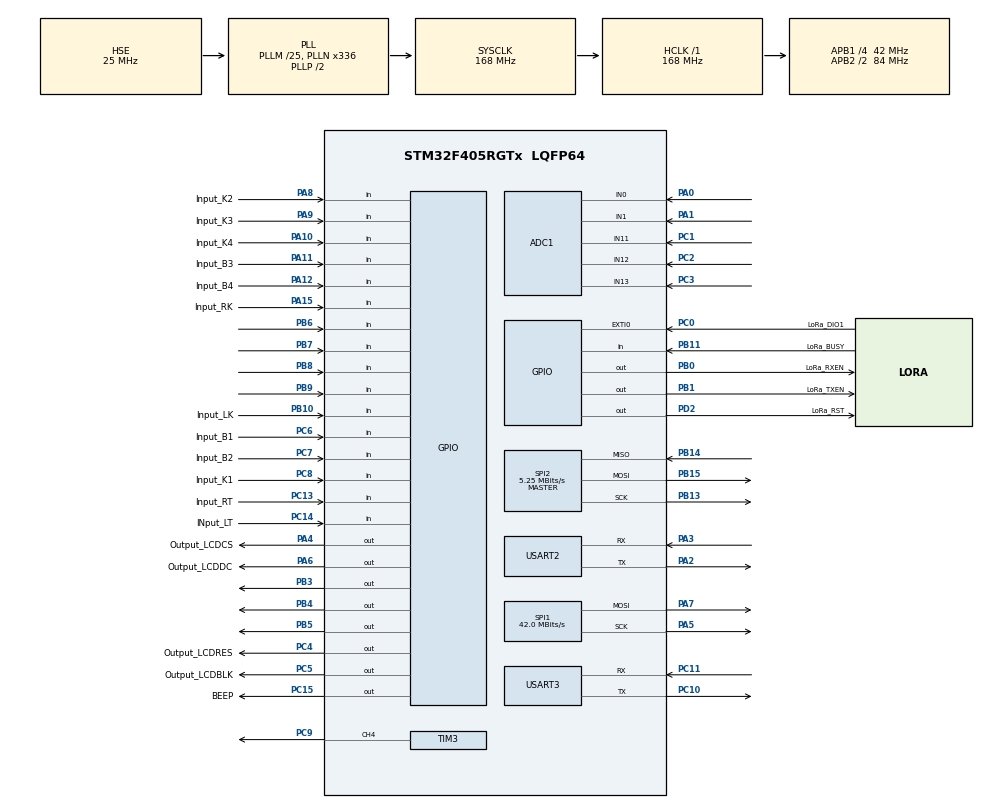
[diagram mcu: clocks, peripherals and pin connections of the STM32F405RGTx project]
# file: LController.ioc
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ADC1.Channel-1\#ChannelRegularConversion=ADC_CHANNEL_11
ADC1.Channel-2\#ChannelRegularConversion=ADC_CHANNEL_12
ADC1.Channel-3\#ChannelRegularConversion=ADC_CHANNEL_0
ADC1.Channel-4\#ChannelRegularConversion=ADC_CHANNEL_1
ADC1.Channel-5\#ChannelRegularConversion=ADC_CHANNEL_13
ADC1.ClockPrescaler=ADC_CLOCK_SYNC_PCLK_DIV8
ADC1.ContinuousConvMode=ENABLE
ADC1.DMAContinuousRequests=ENABLE
ADC1.NbrOfConversion=5
ADC1.NbrOfConversionFlag=1
ADC1.Rank-1\#ChannelRegularConversion=1
ADC1.Rank-2\#ChannelRegularConversion=2
ADC1.Rank-3\#ChannelRegularConversion=3
ADC1.Rank-4\#ChannelRegularConversion=4
ADC1.Rank-5\#ChannelRegularConversion=5
ADC1.SamplingTime-1\#ChannelRegularConversion=ADC_SAMPLETIME_3CYCLES
ADC1.SamplingTime-2\#ChannelRegularConversion=ADC_SAMPLETIME_3CYCLES
ADC1.SamplingTime-3\#ChannelRegularConversion=ADC_SAMPLETIME_3CYCLES
ADC1.SamplingTime-4\#ChannelRegularConversion=ADC_SAMPLETIME_3CYCLES
ADC1.SamplingTime-5\#ChannelRegularConversion=ADC_SAMPLETIME_3CYCLES
ADC1.ScanConvMode=ENABLE
ADC1.master=1
Dma.ADC1.0.Direction=DMA_PERIPH_TO_MEMORY
Dma.ADC1.0.FIFOMode=DMA_FIFOMODE_DISABLE
Dma.ADC1.0.Instance=DMA2_Stream0
Dma.ADC1.0.MemDataAlignment=DMA_MDATAALIGN_HALFWORD
Dma.ADC1.0.MemInc=DMA_MINC_ENABLE
Dma.ADC1.0.Mode=DMA_CIRCULAR
Dma.ADC1.0.PeriphDataAlignment=DMA_PDATAALIGN_HALFWORD
Dma.ADC1.0.PeriphInc=DMA_PINC_DISABLE
Dma.ADC1.0.Priority=DMA_PRIORITY_LOW
Dma.Request0=ADC1
Dma.Request1=USART2_RX
Dma.Request2=USART2_TX
Dma.Request3=USART3_RX
Dma.Request4=TIM3_CH4/UP
Dma.Request5=USART3_TX
Dma.TIM3_CH4/UP.4.Direction=DMA_MEMORY_TO_PERIPH
Dma.TIM3_CH4/UP.4.FIFOMode=DMA_FIFOMODE_DISABLE
Dma.TIM3_CH4/UP.4.Instance=DMA1_Stream2
Dma.TIM3_CH4/UP.4.MemDataAlignment=DMA_MDATAALIGN_WORD
Dma.TIM3_CH4/UP.4.MemInc=DMA_MINC_ENABLE
Dma.TIM3_CH4/UP.4.Mode=DMA_NORMAL
Dma.TIM3_CH4/UP.4.PeriphDataAlignment=DMA_PDATAALIGN_WORD
Dma.TIM3_CH4/UP.4.PeriphInc=DMA_PINC_DISABLE
Dma.TIM3_CH4/UP.4.Priority=DMA_PRIORITY_LOW
Dma.USART2_RX.1.Direction=DMA_PERIPH_TO_MEMORY
Dma.USART2_RX.1.FIFOMode=DMA_FIFOMODE_DISABLE
Dma.USART2_RX.1.Instance=DMA1_Stream5
Dma.USART2_RX.1.MemDataAlignment=DMA_MDATAALIGN_BYTE
Dma.USART2_RX.1.MemInc=DMA_MINC_ENABLE
Dma.USART2_RX.1.Mode=DMA_NORMAL
Dma.USART2_RX.1.PeriphDataAlignment=DMA_PDATAALIGN_BYTE
Dma.USART2_RX.1.PeriphInc=DMA_PINC_DISABLE
Dma.USART2_RX.1.Priority=DMA_PRIORITY_HIGH
Dma.USART2_TX.2.Direction=DMA_MEMORY_TO_PERIPH
Dma.USART2_TX.2.FIFOMode=DMA_FIFOMODE_DISABLE
Dma.USART2_TX.2.Instance=DMA1_Stream6
Dma.USART2_TX.2.MemDataAlignment=DMA_MDATAALIGN_BYTE
Dma.USART2_TX.2.MemInc=DMA_MINC_ENABLE
Dma.USART2_TX.2.Mode=DMA_NORMAL
Dma.USART2_TX.2.PeriphDataAlignment=DMA_PDATAALIGN_BYTE
Dma.USART2_TX.2.PeriphInc=DMA_PINC_DISABLE
Dma.USART2_TX.2.Priority=DMA_PRIORITY_HIGH
Dma.USART3_RX.3.Direction=DMA_PERIPH_TO_MEMORY
Dma.USART3_RX.3.FIFOMode=DMA_FIFOMODE_DISABLE
Dma.USART3_RX.3.Instance=DMA1_Stream1
Dma.USART3_RX.3.MemDataAlignment=DMA_MDATAALIGN_BYTE
Dma.USART3_RX.3.MemInc=DMA_MINC_ENABLE
Dma.USART3_RX.3.Mode=DMA_NORMAL
Dma.USART3_RX.3.PeriphDataAlignment=DMA_PDATAALIGN_BYTE
Dma.USART3_RX.3.PeriphInc=DMA_PINC_DISABLE
Dma.USART3_RX.3.Priority=DMA_PRIORITY_VERY_HIGH
Dma.USART3_TX.5.Direction=DMA_MEMORY_TO_PERIPH
Dma.USART3_TX.5.FIFOMode=DMA_FIFOMODE_DISABLE
Dma.USART3_TX.5.Instance=DMA1_Stream3
Dma.USART3_TX.5.MemDataAlignment=DMA_MDATAALIGN_BYTE
Dma.USART3_TX.5.MemInc=DMA_MINC_ENABLE
Dma.USART3_TX.5.Mode=DMA_NORMAL
Dma.USART3_TX.5.PeriphDataAlignment=DMA_PDATAALIGN_BYTE
Dma.USART3_TX.5.PeriphInc=DMA_PINC_DISABLE
Dma.USART3_TX.5.Priority=DMA_PRIORITY_VERY_HIGH
FREERTOS.Tasks01=TJCshow_Task,10,128,TJCshowTask,Default,NULL,Dynamic,NULL,NULL;Key_Task,11,256,KeyTask,Default,NULL,Dynamic,NULL,NULL;Joystick_Task,11,256,JoystickTask,Default,NULL,Dynamic,NULL,NULL;TJCmsg_Task,10,256,TJCmsgTask,Default,NULL,Dynamic,NULL,NULL;LORAmsg_Task,11,512,LORAmsgTask,Default,NULL,Dynamic,NULL,NULL;LCDLED_Task,11,128,LCDLEDTask,Default,NULL,Dynamic,NULL,NULL
FREERTOS.configCHECK_FOR_STACK_OVERFLOW=2
FREERTOS.configMINIMAL_STACK_SIZE=128
FREERTOS.configTOTAL_HEAP_SIZE=13000
FREERTOS.configUSE_IDLE_HOOK=1
Mcu.Family=STM32F4
Mcu.Name=STM32F405RGTx
Mcu.Package=LQFP64
NVIC.DMA1_Stream1_IRQn=true\:5\:0\:false\:false\:true\:true\:false\:true\:true
NVIC.DMA1_Stream2_IRQn=true\:5\:0\:false\:false\:true\:true\:false\:true\:true
NVIC.DMA1_Stream3_IRQn=true\:5\:0\:false\:false\:true\:true\:false\:true\:true
NVIC.DMA1_Stream5_IRQn=true\:5\:0\:false\:false\:true\:true\:false\:true\:true
NVIC.DMA1_Stream6_IRQn=true\:5\:0\:false\:false\:true\:true\:false\:true\:true
NVIC.DMA2_Stream0_IRQn=true\:5\:0\:false\:false\:true\:true\:false\:true\:true
NVIC.EXTI0_IRQn=true\:5\:0\:false\:false\:true\:true\:true\:true\:true
NVIC.PriorityGroup=NVIC_PRIORITYGROUP_4
NVIC.TIM8_UP_TIM13_IRQn=true\:15\:0\:false\:false\:true\:false\:false\:true\:true
NVIC.TimeBase=TIM8_UP_TIM13_IRQn
NVIC.TimeBaseIP=TIM8
NVIC.USART2_IRQn=true\:5\:0\:false\:false\:true\:true\:true\:true\:true
NVIC.USART3_IRQn=true\:5\:0\:false\:false\:true\:true\:true\:true\:true
PA0-WKUP.Signal=ADCx_IN0
PA1.Signal=ADCx_IN1
PA10.GPIO_Label=Input_K4
PA10.GPIO_PuPd=GPIO_PULLUP
PA10.Signal=GPIO_Input
PA11.GPIO_Label=Input_B3
PA11.GPIO_PuPd=GPIO_PULLUP
PA11.Signal=GPIO_Input
PA12.GPIO_Label=Input_B4
PA12.GPIO_PuPd=GPIO_PULLUP
PA12.Signal=GPIO_Input
PA13.Mode=Serial_Wire
PA13.Signal=SYS_JTMS-SWDIO
PA14.Mode=Serial_Wire
PA14.Signal=SYS_JTCK-SWCLK
PA15.GPIO_Label=Input_RK
PA15.GPIO_PuPd=GPIO_PULLUP
PA15.Signal=GPIO_Input
PA2.Mode=Asynchronous
PA2.Signal=USART2_TX
PA3.Mode=Asynchronous
PA3.Signal=USART2_RX
PA4.GPIO_Label=Output_LCDCS
PA4.Signal=GPIO_Output
PA5.Mode=TX_Only_Simplex_Unidirect_Master
PA5.Signal=SPI1_SCK
PA6.GPIO_Label=Output_LCDDC
PA6.Signal=GPIO_Output
PA7.Mode=TX_Only_Simplex_Unidirect_Master
PA7.Signal=SPI1_MOSI
PA8.GPIO_Label=Input_K2
PA8.GPIO_PuPd=GPIO_PULLUP
PA8.Signal=GPIO_Input
PA9.GPIO_Label=Input_K3
PA9.GPIO_PuPd=GPIO_PULLUP
PA9.Signal=GPIO_Input
PB0.GPIO_Label=LoRa_RXEN
PB0.Signal=GPIO_Output
PB1.GPIO_Label=LoRa_TXEN
PB1.Signal=GPIO_Output
PB10.GPIO_Label=Input_LK
PB10.GPIO_PuPd=GPIO_PULLUP
PB10.Signal=GPIO_Input
PB11.GPIO_Label=LoRa_BUSY
PB11.Signal=GPIO_Input
PB12.GPIO_Speed=GPIO_SPEED_FREQ_HIGH
PB12.Signal=SPI2_NSS
PB13.GPIO_Speed=GPIO_SPEED_FREQ_HIGH
PB13.Mode=Full_Duplex_Master
PB13.Signal=SPI2_SCK
PB14.GPIO_PuPd=GPIO_NOPULL
PB14.GPIO_Speed=GPIO_SPEED_FREQ_HIGH
PB14.Mode=Full_Duplex_Master
PB14.Signal=SPI2_MISO
PB15.GPIO_Speed=GPIO_SPEED_FREQ_HIGH
PB15.Mode=Full_Duplex_Master
PB15.Signal=SPI2_MOSI
PB3.PinState=GPIO_PIN_SET
PB3.Signal=GPIO_Output
PB4.GPIO_ModeDefaultOutputPP=GPIO_MODE_OUTPUT_PP
PB4.GPIO_PuPd=GPIO_NOPULL
PB4.PinState=GPIO_PIN_SET
PB4.Signal=GPIO_Output
PB5.GPIO_ModeDefaultOutputPP=GPIO_MODE_OUTPUT_PP
PB5.GPIO_PuPd=GPIO_NOPULL
PB5.PinState=GPIO_PIN_SET
PB5.Signal=GPIO_Output
PB6.GPIO_PuPd=GPIO_PULLUP
PB6.Signal=GPIO_Input
PB7.GPIO_PuPd=GPIO_PULLUP
PB7.Signal=GPIO_Input
PB8.GPIO_Mode=GPIO_MODE_INPUT
PB8.GPIO_PuPd=GPIO_PULLUP
PB8.Signal=GPIO_Input
PB9.GPIO_PuPd=GPIO_PULLUP
PB9.Signal=GPIO_Input
PC0.GPIO_Label=LoRa_DIO1
PC0.GPIO_ModeDefaultEXTI=GPIO_MODE_IT_RISING
PC0.Signal=GPXTI0
PC1.Signal=ADCx_IN11
PC10.Mode=Asynchronous
PC10.Signal=USART3_TX
PC11.Mode=Asynchronous
PC11.Signal=USART3_RX
PC13-ANTI_TAMP.GPIO_Label=Input_RT
PC13-ANTI_TAMP.GPIO_PuPd=GPIO_PULLUP
PC13-ANTI_TAMP.Signal=GPIO_Input
PC14-OSC32_IN.GPIO_Label=INput_LT
PC14-OSC32_IN.GPIO_PuPd=GPIO_PULLUP
PC14-OSC32_IN.Signal=GPIO_Input
PC15-OSC32_OUT.GPIO_Label=BEEP
PC15-OSC32_OUT.Signal=GPIO_Output
PC2.Signal=ADCx_IN12
PC3.Signal=ADCx_IN13
PC4.GPIO_Label=Output_LCDRES
PC4.Signal=GPIO_Output
PC5.GPIO_Label=Output_LCDBLK
PC5.Signal=GPIO_Output
PC6.GPIO_Label=Input_B1
PC6.GPIO_PuPd=GPIO_PULLUP
PC6.Signal=GPIO_Input
PC7.GPIO_Label=Input_B2
PC7.GPIO_PuPd=GPIO_PULLUP
PC7.Signal=GPIO_Input
PC8.GPIO_Label=Input_K1
PC8.GPIO_PuPd=GPIO_PULLUP
PC8.Signal=GPIO_Input
PC9.Signal=S_TIM3_CH4
PD2.GPIO_Label=LoRa_RST
PD2.Signal=GPIO_Output
PH0-OSC_IN.Mode=HSE-External-Oscillator
PH0-OSC_IN.Signal=RCC_OSC_IN
PH1-OSC_OUT.Mode=HSE-External-Oscillator
PH1-OSC_OUT.Signal=RCC_OSC_OUT
ProjectManager.HeapSize=0x1200
ProjectManager.StackSize=0x1000
ProjectManager.TargetToolchain=MDK-ARM V5.32
RCC.48MHZClocksFreq_Value=84000000
RCC.AHBFreq_Value=168000000
RCC.APB1CLKDivider=RCC_HCLK_DIV4
RCC.APB1Freq_Value=42000000
RCC.APB1TimFreq_Value=84000000
RCC.APB2CLKDivider=RCC_HCLK_DIV2
RCC.APB2Freq_Value=84000000
RCC.APB2TimFreq_Value=168000000
RCC.CortexFreq_Value=168000000
RCC.HCLKFreq_Value=168000000
RCC.HSE_VALUE=25000000
RCC.HSI_VALUE=16000000
RCC.LSE_VALUE=32768
RCC.PLLM=25
RCC.PLLN=336
RCC.PLLSourceVirtual=RCC_PLLSOURCE_HSE
RCC.SYSCLKFreq_VALUE=168000000
RCC.SYSCLKSource=RCC_SYSCLKSOURCE_PLLCLK
RCC.VCOOutputFreq_Value=336000000
SH.ADCx_IN0.0=ADC1_IN0,IN0
SH.ADCx_IN1.0=ADC1_IN1,IN1
SH.ADCx_IN11.0=ADC1_IN11,IN11
SH.ADCx_IN12.0=ADC1_IN12,IN12
SH.ADCx_IN13.0=ADC1_IN13,IN13
SH.S_TIM3_CH4.0=TIM3_CH4,PWM Generation4 CH4
SPI1.BaudRatePrescaler=SPI_BAUDRATEPRESCALER_2
SPI1.CLKPhase=SPI_PHASE_1EDGE
SPI1.CLKPolarity=SPI_POLARITY_LOW
SPI1.CalculateBaudRate=42.0 MBits/s
SPI1.Direction=SPI_DIRECTION_2LINES
SPI1.Mode=SPI_MODE_MASTER
SPI1.VirtualType=VM_MASTER
SPI2.BaudRatePrescaler=SPI_BAUDRATEPRESCALER_8
SPI2.CalculateBaudRate=5.25 MBits/s
SPI2.Direction=SPI_DIRECTION_2LINES
SPI2.Mode=SPI_MODE_MASTER
SPI2.VirtualType=VM_MASTER
TIM3.Channel-PWM\ Generation4\ CH4=TIM_CHANNEL_4
TIM3.Period=104
USART2.VirtualMode=VM_ASYNC
USART3.VirtualMode=VM_ASYNC
VP_FREERTOS_VS_CMSIS_V2.Mode=CMSIS_V2
VP_SYS_VS_tim8.Mode=TIM8
VP_TIM3_VS_ClockSourceINT.Mode=Internal
board=custom

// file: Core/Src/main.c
/* USER CODE BEGIN Header */
/**
 ******************************************************************************
 * @file           : main.c
 * @brief          : Main program body
 ******************************************************************************
 * @attention
 *
 * Copyright (c) 2025 STMicroelectronics.
 * All rights reserved.
 *
 * This software is licensed under terms that can be found in the LICENSE file
 * in the root directory of this software component.
 * If no LICENSE file comes with this software, it is provided AS-IS.
 *
 ******************************************************************************
 */
/* USER CODE END Header */
#include "main.h"
#include "cmsis_os.h"
#include "adc.h"
#include "dma.h"
#include "spi.h"
#include "tim.h"
#include "usart.h"
#include "gpio.h"

/* USER CODE BEGIN Includes */
#include "app_init.h"

/* USER CODE END Includes */

void SystemClock_Config(void);
void MX_FREERTOS_Init(void);

/* USER CODE BEGIN 0 */

// uint8_t data_buffer[100] = {0};
/* USER CODE END 0 */

int main(void)
{

  /* MCU Configuration--------------------------------------------------------*/

  /* Reset of all peripherals, Initializes the Flash interface and the Systick. */
  HAL_Init();

  /* Configure the system clock */
  SystemClock_Config();

  /* Initialize all configured peripherals */
  MX_GPIO_Init();
  MX_DMA_Init();
  MX_ADC1_Init();
  MX_USART2_UART_Init();
  MX_USART3_UART_Init();
  MX_SPI1_Init();
  MX_TIM3_Init();
  MX_SPI2_Init();
  /* USER CODE BEGIN 2 */
	Handle_Start();

  /* USER CODE END 2 */

  /* Init scheduler */
  osKernelInitialize();  /* Call init function for freertos objects (in cmsis_os2.c) */
  MX_FREERTOS_Init();

  /* Start scheduler */
  osKernelStart();

  /* We should never get here as control is now taken by the scheduler */

  /* Infinite loop */
  while (1)
  {

  }
}

void SystemClock_Config(void)
{
  RCC_OscInitTypeDef RCC_OscInitStruct = {0};
  RCC_ClkInitTypeDef RCC_ClkInitStruct = {0};

  /** Configure the main internal regulator output voltage
  */
  __HAL_RCC_PWR_CLK_ENABLE();
  __HAL_PWR_VOLTAGESCALING_CONFIG(PWR_REGULATOR_VOLTAGE_SCALE1);

  /** Initializes the RCC Oscillators according to the specified parameters
  * in the RCC_OscInitTypeDef structure.
  */
  RCC_OscInitStruct.OscillatorType = RCC_OSCILLATORTYPE_HSE;
  RCC_OscInitStruct.HSEState = RCC_HSE_ON;
  RCC_OscInitStruct.PLL.PLLState = RCC_PLL_ON;
  RCC_OscInitStruct.PLL.PLLSource = RCC_PLLSOURCE_HSE;
  RCC_OscInitStruct.PLL.PLLM = 25;
  RCC_OscInitStruct.PLL.PLLN = 336;
  RCC_OscInitStruct.PLL.PLLP = RCC_PLLP_DIV2;
  RCC_OscInitStruct.PLL.PLLQ = 4;
  if (HAL_RCC_OscConfig(&RCC_OscInitStruct) != HAL_OK)
  {
    Error_Handler();
  }

  /** Initializes the CPU, AHB and APB buses clocks
  */
  RCC_ClkInitStruct.ClockType = RCC_CLOCKTYPE_HCLK|RCC_CLOCKTYPE_SYSCLK
                              |RCC_CLOCKTYPE_PCLK1|RCC_CLOCKTYPE_PCLK2;
  RCC_ClkInitStruct.SYSCLKSource = RCC_SYSCLKSOURCE_PLLCLK;
  RCC_ClkInitStruct.AHBCLKDivider = RCC_SYSCLK_DIV1;
  RCC_ClkInitStruct.APB1CLKDivider = RCC_HCLK_DIV4;
  RCC_ClkInitStruct.APB2CLKDivider = RCC_HCLK_DIV2;

  if (HAL_RCC_ClockConfig(&RCC_ClkInitStruct, FLASH_LATENCY_5) != HAL_OK)
  {
    Error_Handler();
  }
}

void HAL_TIM_PeriodElapsedCallback(TIM_HandleTypeDef *htim)
{
  if (htim->Instance == TIM8)
  {
    HAL_IncTick();
  }
}

void Error_Handler(void)
{
  __disable_irq();
  while (1)
  {
  }
}

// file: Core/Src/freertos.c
/* USER CODE BEGIN Header */
/**
 ******************************************************************************
 * File Name          : freertos.c
 * Description        : Code for freertos applications
 ******************************************************************************
 * @attention
 *
 * Copyright (c) 2025 STMicroelectronics.
 * All rights reserved.
 *
 * This software is licensed under terms that can be found in the LICENSE file
 * in the root directory of this software component.
 * If no LICENSE file comes with this software, it is provided AS-IS.
 *
 ******************************************************************************
 */
/* USER CODE END Header */

#include "FreeRTOS.h"
#include "task.h"
#include "main.h"
#include "cmsis_os.h"

/* USER CODE BEGIN Includes */
#include "usart.h"
#include "robot_msg.h"
#include "input.h"
#include "uart_protocol.h"
#include "fifo_queue.h"
#include "touchscreen.h"
#include "string.h"
#include "app_state.h"
#include "screen_ui.h"
#include "myRadio.h"
/* USER CODE END Includes */

/* USER CODE BEGIN Variables */

static uint8_t TJCtxbuffer[128];
static uint8_t LORATxBuffer[128];
static rfRxPacket_ts g_rfRxPacket;
volatile uint8_t g_rfRxFlag = 0;
volatile uint8_t g_rfTxBusy = 0;
osMessageQueueId_t LoRaTxQueueHandle;

char TJCrxmsg;
/* USER CODE END Variables */
/* Definitions for TJCshow_Task */
osThreadId_t TJCshow_TaskHandle;
const osThreadAttr_t TJCshow_Task_attributes = {
  .name = "TJCshow_Task",
  .stack_size = 128 * 4,
  .priority = (osPriority_t) osPriorityLow2,
};
/* Definitions for Key_Task */
osThreadId_t Key_TaskHandle;
const osThreadAttr_t Key_Task_attributes = {
  .name = "Key_Task",
  .stack_size = 256 * 4,
  .priority = (osPriority_t) osPriorityLow3,
};
/* Definitions for Joystick_Task */
osThreadId_t Joystick_TaskHandle;
const osThreadAttr_t Joystick_Task_attributes = {
  .name = "Joystick_Task",
  .stack_size = 256 * 4,
  .priority = (osPriority_t) osPriorityLow3,
};
/* Definitions for TJCmsg_Task */
osThreadId_t TJCmsg_TaskHandle;
const osThreadAttr_t TJCmsg_Task_attributes = {
  .name = "TJCmsg_Task",
  .stack_size = 256 * 4,
  .priority = (osPriority_t) osPriorityLow2,
};
/* Definitions for LORAmsg_Task */
osThreadId_t LORAmsg_TaskHandle;
const osThreadAttr_t LORAmsg_Task_attributes = {
  .name = "LORAmsg_Task",
  .stack_size = 512 * 4,
  .priority = (osPriority_t) osPriorityLow3,
};
/* Definitions for LCDLED_Task */
osThreadId_t LCDLED_TaskHandle;
const osThreadAttr_t LCDLED_Task_attributes = {
  .name = "LCDLED_Task",
  .stack_size = 128 * 4,
  .priority = (osPriority_t) osPriorityLow3,
};

/* USER CODE BEGIN FunctionPrototypes */
static void rfRxCallback(uint8_t status, rfRxPacket_ts packet);
static void LoRa_SendControlMsg(void);
static void LoRa_RxDataProcess(rfRxPacket_ts *rxPacket);
/* USER CODE END FunctionPrototypes */

void TJCshowTask(void *argument);
void KeyTask(void *argument);
void JoystickTask(void *argument);
void TJCmsgTask(void *argument);
void LORAmsgTask(void *argument);
void LCDLEDTask(void *argument);

void MX_FREERTOS_Init(void); /* (MISRA C 2004 rule 8.1) */

/* Hook prototypes */
void vApplicationIdleHook(void);
void vApplicationStackOverflowHook(xTaskHandle xTask, signed char *pcTaskName);

/* USER CODE BEGIN 2 */
void vApplicationIdleHook(void)
{
  /* vApplicationIdleHook() will only be called if configUSE_IDLE_HOOK is set
  to 1 in FreeRTOSConfig.h. It will be called on each iteration of the idle
  task. It is essential that code added to this hook function never attempts
  to block in any way (for example, call xQueueReceive() with a block time
  specified, or call vTaskDelay()). If the application makes use of the
  vTaskDelete() API function (as this demo application does) then it is also
  important that vApplicationIdleHook() is permitted to return to its calling
  function, because it is the responsibility of the idle task to clean up
  memory allocated by the kernel to any task that has since been deleted. */
}
/* USER CODE END 2 */

/* USER CODE BEGIN 4 */
void vApplicationStackOverflowHook(xTaskHandle xTask, signed char *pcTaskName)
{
  /* Run time stack overflow checking is performed if
  configCHECK_FOR_STACK_OVERFLOW is defined to 1 or 2. This hook function is
  called if a stack overflow is detected. */
}
/* USER CODE END 4 */

void MX_FREERTOS_Init(void) {

  /* USER CODE BEGIN RTOS_QUEUES */
  /* add queues, ... */
  LoRaTxQueueHandle = osMessageQueueNew(4, sizeof(R1ControlMsg_S), NULL);
  /* USER CODE END RTOS_QUEUES */

  /* Create the thread(s) */
  /* creation of TJCshow_Task */
  TJCshow_TaskHandle = osThreadNew(TJCshowTask, NULL, &TJCshow_Task_attributes);

  /* creation of Key_Task */
  Key_TaskHandle = osThreadNew(KeyTask, NULL, &Key_Task_attributes);

  /* creation of Joystick_Task */
  Joystick_TaskHandle = osThreadNew(JoystickTask, NULL, &Joystick_Task_attributes);

  /* creation of TJCmsg_Task */
  TJCmsg_TaskHandle = osThreadNew(TJCmsgTask, NULL, &TJCmsg_Task_attributes);

  /* creation of LORAmsg_Task */
  LORAmsg_TaskHandle = osThreadNew(LORAmsgTask, NULL, &LORAmsg_Task_attributes);

  /* creation of LCDLED_Task */
  LCDLED_TaskHandle = osThreadNew(LCDLEDTask, NULL, &LCDLED_Task_attributes);

}

void TJCshowTask(void *argument)
{
  /* USER CODE BEGIN TJCshowTask */
  /* Infinite loop */
  for (;;)
  {
    if (flag.TJCvalrefresh)
    {
      if (flag.RobotMode== 0)
        R1_TJC_val_show();
//      else
//        R2_TJC_val_show();
     	flag.TJCvalrefresh = false;
    }

		// if (temp.POWERflashtic++ == 100)	// 检测电量
    // {
    //   powerSend(power_scan());
    //   temp.POWERflashtic = 0;
    // }
    osDelay(40);
  }
  /* USER CODE END TJCshowTask */
}

void KeyTask(void *argument)
{
  /* USER CODE BEGIN KeyTask */
  static uint8_t keyTaskLastToggleNum = 0x0F; // 用来储存上一次的拨码开关状态，初始值为0x0F表示全开
  /* Infinite loop */
  for (;;)
  {
      temp.key_num = KeyScan();      	  // 按键扫描
		  temp.ToggleNum = ToggleScan();		// 拨动开关扫描
			if (temp.key_num != 0)	//扫描到按键变化
			{
				if (flag.RobotMode== 0)
					R1_key_function(temp.key_num);
//				else
//					R2_key_function(temp.key_num);
			}
			if(temp.ToggleNum != keyTaskLastToggleNum && (!flag.LCDfirstshow))
			{
        keyTaskLastToggleNum = temp.ToggleNum; // 更新上一次的拨码开关状态
				if (flag.RobotMode== 0)
					R1_toggle_function(temp.ToggleNum);
//			else
//				R2_toggle_function(temp.ToggleNum);
			}
      osDelay(20);
  }
  /* USER CODE END KeyTask */
}

void JoystickTask(void *argument)
{
  /* USER CODE BEGIN JoystickTask */
  uint8_t lora_queue_msg[sizeof(R1ControlMsg_S)];
  static JScontrol_S js_last = {0}; // 记录上一次的摇杆状态
  static R1ControlMsg_S r1_last = {0}; // 记录上次发送的R1按键状态
  // static R2ControlMsg_S r2_last = {0}; // 记录上次发送的R2按键状态
  static TickType_t last_send_tick = 0; // 上次发送的时间戳
  static TickType_t xPeriod = pdMS_TO_TICKS(1);
  TickType_t xLastWakeTime = osKernelGetTickCount();

  /* Infinite loop */
  for (;;)
  {
    vTaskDelayUntil(&xLastWakeTime, xPeriod); // 消抖
    joystickLeft_scan();   // 单左摇杆扫描
    joystickRight_scan();

    // 检查是否有变化
    bool is_changed = false;

    // 每次先将最新读取的摇杆数据同步到 controlmsg 中，然后再做整体的 memcmp 比较
    if (flag.RobotMode == 0)
    {
      r1controlmsg.setx = JScontrolmsg.velX;
      r1controlmsg.sety = JScontrolmsg.velY;
      r1controlmsg.setw = JScontrolmsg.angW;

      if (memcmp(&r1controlmsg, &r1_last, sizeof(R1ControlMsg_S)) != 0)
        is_changed = true;
    }
    // else
    // {
    //   r2controlmsg.Vx = JScontrolmsg.velX;
    //   r2controlmsg.Vy = JScontrolmsg.velY;
    //   r2controlmsg.Vw = JScontrolmsg.angW;

    //   if (memcmp(&r2controlmsg, &r2_last, sizeof(R2ControlMsg_S)) != 0)
    //     is_changed = true;
    // }

    // 获取当前系统时间
    xLastWakeTime = osKernelGetTickCount();

    // 触发发送条件：1. 数据发生变化  2. 超过200ms没有发送数据(防丢包)
    if (is_changed || (xLastWakeTime - last_send_tick > 200))
    {
      last_send_tick = xLastWakeTime;
      js_last = JScontrolmsg;

      if (flag.RobotMode == 0)
      {
        r1_last = r1controlmsg; // 记录已发送的R1状态
        memcpy(lora_queue_msg, &r1controlmsg, sizeof(R1ControlMsg_S));
        osMessageQueuePut(LoRaTxQueueHandle, lora_queue_msg, 0, 0);
      }
      // else
      // {
      //   r2_last = r2controlmsg; // 记录已发送的R2状态
      //   memcpy(lora_queue_msg, &r2controlmsg, sizeof(R2ControlMsg_S));
      //   osMessageQueuePut(LoRaTxQueueHandle, lora_queue_msg, 0, 0);
      // }

    //    uint8_t *data;
    //    if (flag.RobotMode == 0)
    //       data = dataEncode(R1all_ID, &U2DataFrame); // 编码
    //    else
    //       data = dataEncode(R2all_ID, &U2DataFrame);
    //
    //    enQueueLen(USARTmsgTxQueue, data, U2DataFrame.sendlen); // 入队
    }

    osDelay(15);
  }
  /* USER CODE END JoystickTask */
}

void TJCmsgTask(void *argument)
{
  /* USER CODE BEGIN TJCmsgTask */
  /* Infinite loop */
  for (;;)
  {
    while (deQueue(TJCMsgRxQueue, (uint8_t *)&TJCrxmsg))
		GetMsg(&tjcMsg, TJCrxmsg); // 解析触摸屏反馈
    osDelay(30);
  }
  /* USER CODE END TJCmsgTask */
}

void LORAmsgTask(void *argument)
{
  /* USER CODE BEGIN LORAmsgTask */

  //  const uint32_t SEND_INTERVAL_MS = 10;  /* 发送间隔10ms */

  myRadio_init(0, (void *)rfRxCallback);
  myRadio_setFrequency(915000000);
  myRadio_setTxPower(8);
  myRadio_setBaudrate(RF_BAUDRATE_62500);
  myRadio_receiver();

  uint8_t tx_buffer[sizeof(R1ControlMsg_S)];
  static rfTxPacket_ts txPacket;

  /* Infinite loop */
  for(;;)
  {
    myRadio_process();

    /* 检查并处理接收到的数据 */
    if (g_rfRxFlag)
    {
      g_rfRxFlag = 0;
      LoRa_RxDataProcess(&g_rfRxPacket);
    }

    /* 数据流驱动发送控制消息 */
    if (osMessageQueueGet(LoRaTxQueueHandle, tx_buffer, NULL, 5) == osOK)
    {
      while (g_rfTxBusy)
      {
        myRadio_process();
        osDelay(1);
      }

      /* 直接发送裸 R1ControlMsg_S 结构体，无 MsgId */
      memcpy(txPacket.payload, tx_buffer, sizeof(R1ControlMsg_S));
      txPacket.len = sizeof(R1ControlMsg_S);

      g_rfTxBusy = 1;
      myRadio_transmit(&txPacket);
    }

//    osDelay(15);
  }
  /* USER CODE END LORAmsgTask */
}

void LCDLEDTask(void *argument)
{
  /* USER CODE BEGIN LCDLEDTask */
  /* Infinite loop */
  for (;;)
  {
      if (flag.LCDfirstshow) // 第一次LCD刷新界面基本文字要素
      {
				if (flag.RobotMode == 0) // R1
					R1_Interface();
				// else // R2
        //  R2_Interface();

				// Toggle_status_show();
				temp.ToggleNum=0x0F;
				temp.ToggleNumlast=temp.ToggleNum;
        flag.LCDfirstshow = false;
      }
      else
      {
        if(temp.ToggleNum!=temp.ToggleNumlast)
        {
          // Toggle_status_show();
          temp.ToggleNumlast=temp.ToggleNum;
        }
        LCD_flash(); // 动态显示
      }
    osDelay(30);
  }
  /* USER CODE END LCDLEDTask */
}

/* USER CODE BEGIN Application */
static void rfRxCallback(uint8_t status, rfRxPacket_ts packet)
{
  switch (status)
  {
    case RX_STA_SECCESS:
      g_rfRxPacket = packet;
      g_rfRxFlag = 1;
      /* 接收成功后重新进入接收模式 */
      myRadio_receiver();
      break;
    case RX_STA_TIMEOUT:
      /* 接收超时，重新进入接收 */
      myRadio_receiver();
      break;
    case TX_STA_SECCESS:
      /* 发送完成，清除忙标志并切换回接收 */
      g_rfTxBusy = 0;
      myRadio_receiver();
      break;
    default:
      g_rfTxBusy = 0;
      myRadio_receiver();
      break;
  }
}

/**
 * @brief LoRa发送控制消息（改为队列后不需要）
 *   帧格式: [MsgId(1B)] [Data(NB)]
 *   根据当前机器人模式发送R1或R2控制数据
 */
//  static void LoRa_SendControlMsg(void)
//  {
//     static rfTxPacket_ts txPacket;
//     uint8_t offset = 0;

//     if (flag.RobotMode == 0)
//      {
//       txPacket.payload[offset++] = (uint8_t)R1all_ID;
//       memcpy(&txPacket.payload[offset], &r1controlmsg, sizeof(R1ControlMsg_S));
//       offset += sizeof(R1ControlMsg_S);
//      }
//     else
//      {
//       txPacket.payload[offset++] = (uint8_t)R2all_ID;
//       memcpy(&txPacket.payload[offset], &r2controlmsg, sizeof(R2ControlMsg_S));
//       offset += sizeof(R2ControlMsg_S);
//      }

//     txPacket.len = offset;
//     myRadio_transmit(&txPacket);
//  }

/**
 * @brief LoRa接收数据处理
 *   解析机器人返回的状态反馈消息
 *   帧格式: 裸 R1BackMsg_S 结构体，无帧头/校验/帧尾（LORA链路层自带CRC）
 */
static void LoRa_RxDataProcess(rfRxPacket_ts *rxPacket)
{
    /* 校验数据长度是否等于 R1BackMsg_S 结构体大小（33字节） */
    if (rxPacket->len != sizeof(R1BackMsg_S))
        return;

    /* 校验通过，直接整包拷贝到 r1backmsg */
    memcpy(&r1backmsg, rxPacket->payload, sizeof(R1BackMsg_S));
    flag.TJCvalrefresh = true;  /* 触发界面刷新 */
}

/* USER CODE END Application */
